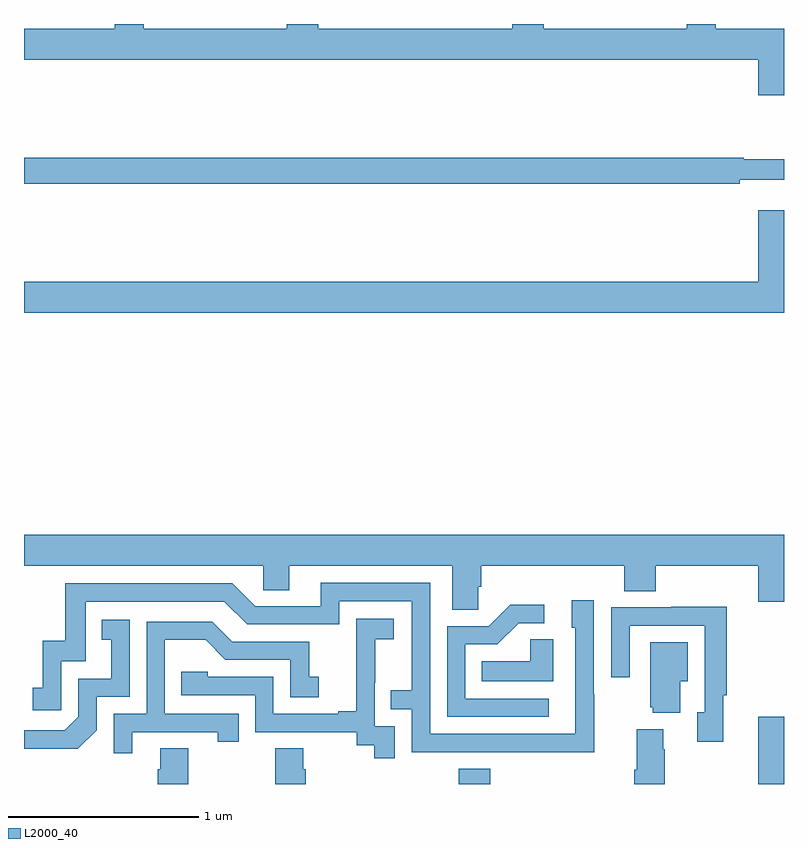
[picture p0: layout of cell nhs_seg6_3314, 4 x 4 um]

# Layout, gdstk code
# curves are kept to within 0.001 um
import gdstk
lib = gdstk.Library(unit=1e-6, precision=1e-09)
def R(c, l, rs):  # rectangles x0, y0, x1, y1
    for r in rs: c.add(gdstk.rectangle(r[:2], r[2:], *l))
def P(c, l, *ps):  # polygons
    for p in ps: c.add(gdstk.Polygon(p, *l))
L2000_40 = (2000, 40)

nhs_seg6_3314 = lib.new_cell('nhs_seg6_3314')
R(nhs_seg6_3314, L2000_40, [(307.289,967.5,307.454,967.579), (308.864,967.5,309,967.855)])
P(nhs_seg6_3314, L2000_40, [(309,971.476),(308.641,971.476),(308.641,971.5),(308.489,971.5),(308.489,971.476),(307.736,971.476),(307.736,971.5),(307.571,971.5),(307.571,971.476),(306.548,971.476),(306.548,971.5),(306.383,971.5),(306.383,971.476),(305.63,971.476),(305.63,971.5),(305.477,971.5),(305.477,971.476),(305,971.476),(305,971.312),(308.864,971.312),(308.864,971.124),(309,971.124)],
  [(308.768,970.679),(309,970.679),(309,970.789),(308.788,970.789),(308.788,970.796),(305,970.796),(305,970.66),(308.768,970.66)],
  [(309,970.519),(308.864,970.519),(308.864,970.144),(305,970.144),(305,969.98),(309,969.98)],
  [(307.392,968.539),(307.406,968.539),(307.406,968.648),(308.159,968.648),(308.159,968.515),(308.324,968.515),(308.324,968.648),(308.864,968.648),(308.864,968.46),(309,968.46),(309,968.812),(305,968.812),(305,968.648),(306.258,968.648),(306.258,968.521),(306.397,968.521),(306.397,968.648),(307.253,968.648),(307.253,968.416),(307.392,968.416)],
  [(308.001,967.973),(307.998,967.973),(307.998,968.467),(307.883,968.467),(307.883,968.322),(307.902,968.322),(307.902,967.764),(307.137,967.764),(307.137,968.559),(306.563,968.559),(306.563,968.436),(306.216,968.436),(306.096,968.556),(305.217,968.556),(305.217,968.254),(305.099,968.254),(305.099,968.007),(305.046,968.007),(305.046,967.887),(305.196,967.887),(305.196,968.145),(305.325,968.145),(305.325,968.46),(306.054,968.46),(306.174,968.34),(306.66,968.34),(306.66,968.463),(307.041,968.463),(307.041,967.994),(306.931,967.994),(306.931,967.893),(307.041,967.893),(307.041,967.668),(308.001,967.667)],
  [(307.762,967.95),(307.323,967.95),(307.323,968.235),(307.492,968.235),(307.603,968.346),(307.738,968.346),(307.738,968.444),(307.559,968.444),(307.446,968.331),(307.227,968.331),(307.227,967.854),(307.762,967.854)],
  [(308.681,967.966),(308.699,967.966),(308.699,968.432),(308.407,968.432),(308.407,968.43),(308.091,968.43),(308.091,968.061),(308.187,968.061),(308.187,968.334),(308.583,968.334),(308.583,967.878),(308.543,967.878),(308.543,967.722),(308.681,967.722)],
  [(306.951,967.803),(306.846,967.803),(306.846,968.033),(306.848,968.033),(306.848,968.261),(306.946,968.261),(306.946,968.371),(306.748,968.371),(306.748,968.165),(306.749,968.165),(306.749,967.882),(306.653,967.882),(306.653,967.869),(306.312,967.869),(306.312,968.064),(305.967,968.064),(305.967,968.091),(305.827,968.091),(305.827,967.968),(306.216,967.968),(306.216,967.773),(306.75,967.773),(306.75,967.705),(306.843,967.705),(306.843,967.635),(306.951,967.635)],
  [(305.382,967.782),(305.382,967.959),(305.556,967.959),(305.556,968.365),(305.41,968.365),(305.41,968.259),(305.459,968.259),(305.459,968.055),(305.286,968.055),(305.286,967.854),(305.214,967.782),(305,967.782),(305,967.685),(305.284,967.685)],
  [(305.569,967.773),(306.02,967.773),(306.02,967.722),(306.131,967.722),(306.131,967.869),(305.742,967.869),(305.742,968.258),(305.956,968.258),(306.06,968.154),(306.402,968.154),(306.402,967.956),(306.55,967.956),(306.55,968.065),(306.501,968.065),(306.501,968.25),(306.097,968.25),(305.992,968.355),(305.646,968.355),(305.646,967.869),(305.472,967.869),(305.472,967.662),(305.569,967.662)],
  [(307.786,968.261),(307.665,968.261),(307.665,968.146),(307.408,968.146),(307.408,968.042),(307.786,968.042)],
  [(308.455,968.042),(308.494,968.042),(308.494,968.245),(308.297,968.245),(308.297,967.905),(308.309,967.905),(308.309,967.874),(308.455,967.874)],
  [(308.373,967.682),(308.365,967.682),(308.365,967.789),(308.225,967.789),(308.225,967.576),(308.213,967.576),(308.213,967.5),(308.373,967.5)],
  [(305.865,967.688),(305.717,967.688),(305.717,967.578),(305.705,967.578),(305.705,967.5),(305.865,967.5)],
  [(306.482,967.578),(306.469,967.578),(306.469,967.688),(306.322,967.688),(306.322,967.5),(306.482,967.5)])

lib.write_gds('nhs_seg6_3314.gds')
